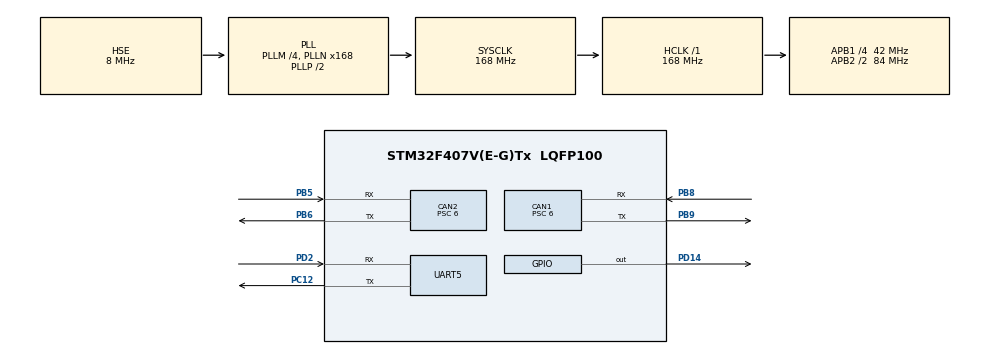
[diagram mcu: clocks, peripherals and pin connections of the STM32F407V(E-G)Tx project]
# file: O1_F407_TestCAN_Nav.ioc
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CAN1.BS1=CAN_BS1_8TQ
CAN1.BS2=CAN_BS2_5TQ
CAN1.CalculateBaudRate=500000
CAN1.CalculateTimeBit=2000
CAN1.CalculateTimeQuantum=142.85714285714286
CAN1.Prescaler=6
CAN2.BS1=CAN_BS1_8TQ
CAN2.BS2=CAN_BS2_5TQ
CAN2.CalculateBaudRate=500000
CAN2.CalculateTimeBit=2000
CAN2.CalculateTimeQuantum=142.85714285714286
CAN2.Prescaler=6
Mcu.Family=STM32F4
Mcu.Name=STM32F407V(E-G)Tx
Mcu.Package=LQFP100
NVIC.CAN1_RX0_IRQn=true\:0\:0\:false\:false\:true\:true\:true\:true
NVIC.CAN2_RX1_IRQn=true\:0\:0\:false\:false\:true\:true\:true\:true
NVIC.PriorityGroup=NVIC_PRIORITYGROUP_4
NVIC.TIM7_IRQn=true\:0\:0\:false\:false\:true\:true\:true\:true
NVIC.UART5_IRQn=true\:0\:0\:false\:false\:true\:true\:true\:true
PA13.Mode=Serial_Wire
PA13.Signal=SYS_JTMS-SWDIO
PA14.Mode=Serial_Wire
PA14.Signal=SYS_JTCK-SWCLK
PB5.Mode=CAN_Activate
PB5.Signal=CAN2_RX
PB6.Mode=CAN_Activate
PB6.Signal=CAN2_TX
PB8.Mode=CAN_Activate
PB8.Signal=CAN1_RX
PB9.Mode=CAN_Activate
PB9.Signal=CAN1_TX
PC12.Mode=Asynchronous
PC12.Signal=UART5_TX
PD14.Signal=GPIO_Output
PD2.Mode=Asynchronous
PD2.Signal=UART5_RX
PH0-OSC_IN.Mode=HSE-External-Oscillator
PH0-OSC_IN.Signal=RCC_OSC_IN
PH1-OSC_OUT.Mode=HSE-External-Oscillator
PH1-OSC_OUT.Signal=RCC_OSC_OUT
ProjectManager.HeapSize=0x200
ProjectManager.StackSize=0x400
ProjectManager.TargetToolchain=STM32CubeIDE
RCC.48MHZClocksFreq_Value=84000000
RCC.AHBFreq_Value=168000000
RCC.APB1CLKDivider=RCC_HCLK_DIV4
RCC.APB1Freq_Value=42000000
RCC.APB1TimFreq_Value=84000000
RCC.APB2CLKDivider=RCC_HCLK_DIV2
RCC.APB2Freq_Value=84000000
RCC.APB2TimFreq_Value=168000000
RCC.CortexFreq_Value=168000000
RCC.HCLKFreq_Value=168000000
RCC.HSE_VALUE=8000000
RCC.HSI_VALUE=16000000
RCC.LSE_VALUE=32768
RCC.PLLM=4
RCC.PLLN=168
RCC.PLLSourceVirtual=RCC_PLLSOURCE_HSE
RCC.SYSCLKFreq_VALUE=168000000
RCC.SYSCLKSource=RCC_SYSCLKSOURCE_PLLCLK
RCC.VCOOutputFreq_Value=336000000
TIM7.AutoReloadPreload=TIM_AUTORELOAD_PRELOAD_ENABLE
TIM7.Period=1
TIM7.Prescaler=41999
UART5.VirtualMode=Asynchronous
VP_TIM7_VS_ClockSourceINT.Mode=Enable_Timer
board=custom

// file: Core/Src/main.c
/* USER CODE BEGIN Header */
/**
  ******************************************************************************
  * @file           : main.c
  * @brief          : Main program body
  ******************************************************************************
  * @attention
  *
  * Copyright (c) 2025 STMicroelectronics.
  * All rights reserved.
  *
  * This software is licensed under terms that can be found in the LICENSE file
  * in the root directory of this software component.
  * If no LICENSE file comes with this software, it is provided AS-IS.
  *
  ******************************************************************************
  */
/* USER CODE END Header */
#include "main.h"
#include "can.h"
#include "tim.h"
#include "usart.h"
#include "gpio.h"

/* USER CODE BEGIN Includes */

#include "FS-iA6B.h"
#include <string.h>

/* USER CODE END Includes */

/* USER CODE BEGIN PTD */

extern uint8_t tim7_20ms_flag;

extern uint8_t ibus_rx_buf[32];  // Ibus
extern uint8_t ibus_rx_cplt_flag;

CAN_TxHeaderTypeDef CAN2_TXHeader;
uint32_t TxMailbox;
uint8_t CAN2_TXdata[8] = {0xAF, 0x01, 0xFA, 0xFA, 0xFF, 0xFF, 0xFF, 0xFF};
uint8_t CAN2_TXdata_Enable[8] = {0x00, 0xFB, 0xFA, 0xFA, 0xFF, 0xFF, 0xFF, 0xFF};
uint8_t CAN2_RXdata[8];

uint16_t Servo_Position = 0;
float Omega;

/* USER CODE END PTD */

/* USER CODE BEGIN PD */

uint16_t servo_control(unsigned short Ibus_LH);
float Distance_To_Omega(uint16_t input);

/* USER CODE END PD */

void SystemClock_Config(void);

int main(void)
{

  /* MCU Configuration--------------------------------------------------------*/

  /* Reset of all peripherals, Initializes the Flash interface and the Systick. */
  HAL_Init();

  /* Configure the system clock */
  SystemClock_Config();

  /* Initialize all configured peripherals */
  MX_GPIO_Init();
  MX_UART5_Init();
  MX_CAN2_Init();
  MX_TIM7_Init();
  MX_CAN1_Init();
  /* USER CODE BEGIN 2 */

  HAL_CAN_Start(&hcan2);
  HAL_CAN_ActivateNotification(&hcan2, CAN_IT_RX_FIFO1_MSG_PENDING);

  LL_TIM_EnableCounter(TIM7); // 50Hz loop
  LL_TIM_EnableIT_UPDATE(TIM7);

  LL_USART_EnableIT_RXNE(UART5); // bat ngat ibus

  CAN2_TXHeader.ExtId = 0x18EFC800;
  CAN2_TXHeader.DLC = 8;
  CAN2_TXHeader.IDE = CAN_ID_EXT;
  CAN2_TXHeader.RTR = CAN_RTR_DATA;
  CAN2_TXHeader.TransmitGlobalTime = DISABLE;

  /* USER CODE END 2 */

  /* Infinite loop */
  /* USER CODE BEGIN WHILE */
  while (1)
  {
	  if(tim7_20ms_flag == 1)
	  {
		  tim7_20ms_flag = 0;
		  LL_GPIO_TogglePin(GPIOD, LL_GPIO_PIN_14);
		  uint16_t temp =  servo_control(iBus.LH);
		  CAN2_TXdata[0] = temp & 0xFF;
		  CAN2_TXdata[1] = (temp >> 8) & 0xFF;
		  static uint8_t cnt = 0;
		  if(cnt++ < 4)
			  HAL_CAN_AddTxMessage(&hcan2, &CAN2_TXHeader, CAN2_TXdata_Enable, &TxMailbox);
		  HAL_CAN_AddTxMessage(&hcan2, &CAN2_TXHeader, CAN2_TXdata, &TxMailbox);
	  }

	  // Check Connect IBus
	  if(ibus_rx_cplt_flag == 1)
	  {
		ibus_rx_cplt_flag = 0;
		if(iBus_Check_CHKSUM(&ibus_rx_buf[0], 32) == 1)
		{
			  iBus_Parsing(&ibus_rx_buf[0], &iBus);
		}
      }

    /* USER CODE END WHILE */

  }
}

void SystemClock_Config(void)
{
  RCC_OscInitTypeDef RCC_OscInitStruct = {0};
  RCC_ClkInitTypeDef RCC_ClkInitStruct = {0};

  /** Configure the main internal regulator output voltage
  */
  __HAL_RCC_PWR_CLK_ENABLE();
  __HAL_PWR_VOLTAGESCALING_CONFIG(PWR_REGULATOR_VOLTAGE_SCALE1);

  /** Initializes the RCC Oscillators according to the specified parameters
  * in the RCC_OscInitTypeDef structure.
  */
  RCC_OscInitStruct.OscillatorType = RCC_OSCILLATORTYPE_HSE;
  RCC_OscInitStruct.HSEState = RCC_HSE_ON;
  RCC_OscInitStruct.PLL.PLLState = RCC_PLL_ON;
  RCC_OscInitStruct.PLL.PLLSource = RCC_PLLSOURCE_HSE;
  RCC_OscInitStruct.PLL.PLLM = 4;
  RCC_OscInitStruct.PLL.PLLN = 168;
  RCC_OscInitStruct.PLL.PLLP = RCC_PLLP_DIV2;
  RCC_OscInitStruct.PLL.PLLQ = 4;
  if (HAL_RCC_OscConfig(&RCC_OscInitStruct) != HAL_OK)
  {
    Error_Handler();
  }

  /** Initializes the CPU, AHB and APB buses clocks
  */
  RCC_ClkInitStruct.ClockType = RCC_CLOCKTYPE_HCLK|RCC_CLOCKTYPE_SYSCLK
                              |RCC_CLOCKTYPE_PCLK1|RCC_CLOCKTYPE_PCLK2;
  RCC_ClkInitStruct.SYSCLKSource = RCC_SYSCLKSOURCE_PLLCLK;
  RCC_ClkInitStruct.AHBCLKDivider = RCC_SYSCLK_DIV1;
  RCC_ClkInitStruct.APB1CLKDivider = RCC_HCLK_DIV4;
  RCC_ClkInitStruct.APB2CLKDivider = RCC_HCLK_DIV2;

  if (HAL_RCC_ClockConfig(&RCC_ClkInitStruct, FLASH_LATENCY_5) != HAL_OK)
  {
    Error_Handler();
  }
}

/* USER CODE BEGIN 4 */

void HAL_CAN_RxFifo1MsgPendingCallback(CAN_HandleTypeDef *hcan)
{
	CAN_RxHeaderTypeDef rxHeader;
	uint8_t rxData[8];

	HAL_CAN_GetRxMessage(&hcan2, CAN_RX_FIFO1, &rxHeader, rxData);

	if (rxHeader.IDE == CAN_ID_EXT) {
		switch (rxHeader.ExtId) {
			case 0x18FF00C8:
				Servo_Position = (int16_t)((rxData[1]<< 8) | rxData[0]);
				Omega = Distance_To_Omega(Servo_Position);
				break;
		}
	}
}

uint16_t servo_control(unsigned short Ibus_LH)
{
	if (Ibus_LH <= 1500)
		return (Ibus_LH - 1000) * (380 - 91) / (1500 - 1000) + 91;
	else
		return (Ibus_LH - 1500) * (687 - 380) / (2000 - 1500) + 380;
}

float Distance_To_Omega(uint16_t input)
{
	return ((float)(input - 90) * 80.0f) / (687.0f - 90.0f) - 40.0f;
}

/* USER CODE END 4 */

void Error_Handler(void)
{
  __disable_irq();
  while (1)
  {
  }
}
